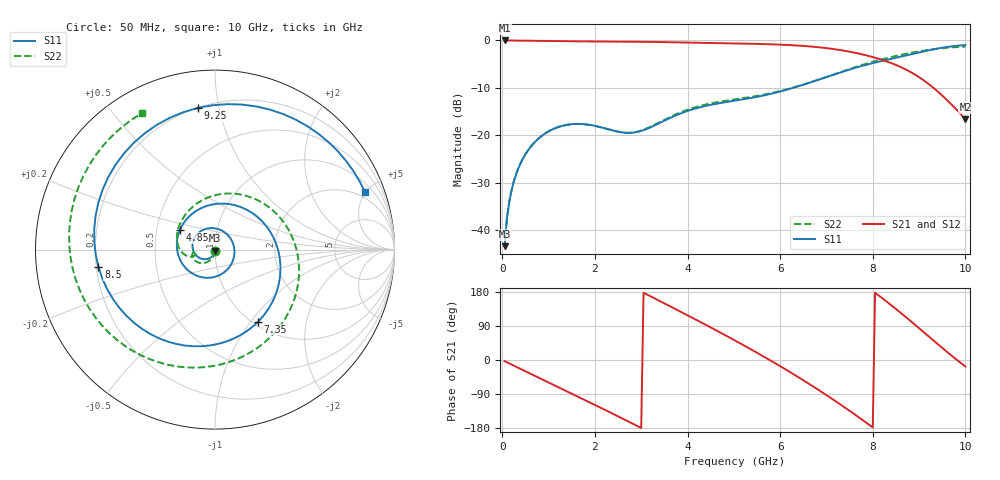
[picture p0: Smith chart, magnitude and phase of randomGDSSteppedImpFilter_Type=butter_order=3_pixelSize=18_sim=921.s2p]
! freq	dB(S11)	phase(S11)	dB(S12)	phase(S12)
!  dB(S21)	phase(S21)	dB(S22)	phase(S22)
!S-par simulation data
#  GHz  S  DB  R 50
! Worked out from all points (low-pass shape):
!   200 points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, 50 MHz to 10 GHz, reference 50 ohm
!   highest |S21| = -0.01 dB at 50 MHz (marker M1); lowest = -16.6 dB at 10 GHz (marker M2)
!   |S21| within 3 dB of the highest: start of sweep to 7.801 GHz
!   lowest |S11| = -43.4 dB at 50 MHz (marker M3), VSWR 1.01, Z = 50 - j0.675 ohm
!   |S11| at or under -10 dB: start of sweep to 6.28 GHz
!   |S22| runs from -43.4 to -1.3 dB; largest |S21 - S12| = 0
!   S11 on the Smith chart (normalised r, x): 50 MHz: 1.00, -0.01; 4.85 GHz: 0.66, +0.15; 7.35 GHz: 1.06, -1.09; 8.5 GHz: 0.21, -0.07; 9.25 GHz: 0.20, +0.87; 10 GHz: 1.53, +4.94
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0.05  -43.41 -90.8  -0.01 -3.0  -0.01 -3.0  -43.40 -89.5
0.2  -31.61 -103.8  -0.02 -12.0  -0.02 -12.0  -31.59 -99.0
0.5  -24.02 -126.2  -0.06 -29.8  -0.06 -29.8  -24.00 -114.0
1.15  -18.49 -174.6  -0.14 -68.2  -0.14 -68.2  -18.48 -143.3
1.75  -17.66 136.1  -0.20 -103.6  -0.20 -103.6  -17.68 -165.0
2.65  -19.48 35.3  -0.24 -157.9  -0.24 -157.9  -19.47 -171.6
3.4  -17.41 -65.4  -0.34 155.7  -0.34 155.7  -17.22 -163.5
4.15  -14.42 -143.3  -0.49 108.4  -0.49 108.4  -14.15 179.5
4.85  -12.99 150.8  -0.61 63.1  -0.61 63.1  -12.69 154.0
5.05  -12.68 131.9  -0.64 49.8  -0.64 49.8  -12.40 145.9
5.45  -12.01 94.5  -0.72 22.6  -0.72 22.6  -11.79 128.1
5.85  -11.15 58.7  -0.83 -5.5  -0.83 -5.5  -11.02 107.1
6.25  -10.09 25.4  -1.01 -34.6  -1.01 -34.6  -10.04 81.4
6.7  -8.71 -9.2  -1.32 -68.8  -1.32 -68.8  -8.70 47.0
7.35  -6.60 -59.0  -2.11 -121.4  -2.11 -121.4  -6.51 -9.2
7.85  -5.17 -102.5  -3.12 -164.5  -3.12 -164.5  -4.93 -53.1
8.35  -3.99 -154.2  -4.60 149.3  -4.60 149.3  -3.63 -95.6
8.5  -3.66 -171.5  -5.17 134.7  -5.17 134.7  -3.29 -108.1
8.85  -2.87 145.9  -6.85 99.4  -6.85 99.4  -2.58 -137.7
9.25  -1.99 96.8  -9.53 57.6  -9.53 57.6  -1.94 -172.6
9.55  -1.46 63.2  -12.09 26.7  -12.09 26.7  -1.60 160.2
10  -0.96 21.0  -16.60 -17.3  -16.60 -17.3  -1.29 118.3
